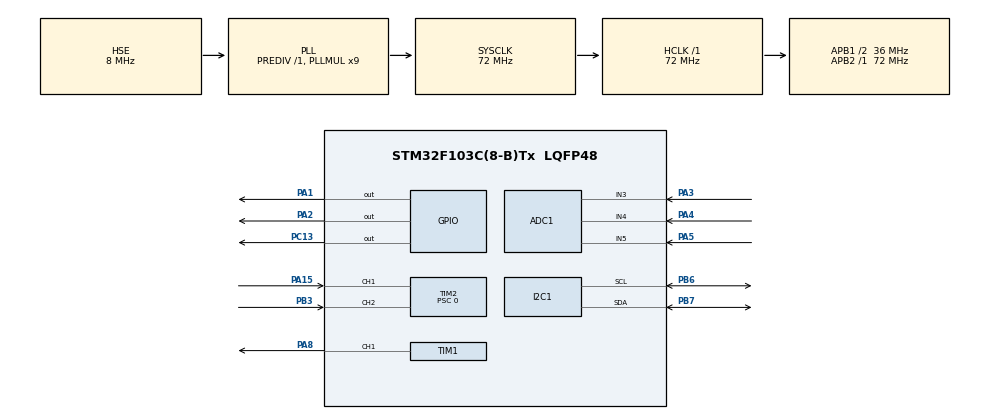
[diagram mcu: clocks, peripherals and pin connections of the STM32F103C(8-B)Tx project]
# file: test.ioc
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ADC1.Channel-0\#ChannelRegularConversion=ADC_CHANNEL_3
ADC1.Channel-1\#ChannelRegularConversion=ADC_CHANNEL_4
ADC1.Channel-2\#ChannelRegularConversion=ADC_CHANNEL_5
ADC1.ContinuousConvMode=DISABLE
ADC1.NbrOfConversion=3
ADC1.NbrOfConversionFlag=1
ADC1.Rank-0\#ChannelRegularConversion=1
ADC1.Rank-1\#ChannelRegularConversion=2
ADC1.Rank-2\#ChannelRegularConversion=3
ADC1.SamplingTime-0\#ChannelRegularConversion=ADC_SAMPLETIME_1CYCLE_5
ADC1.SamplingTime-1\#ChannelRegularConversion=ADC_SAMPLETIME_1CYCLE_5
ADC1.SamplingTime-2\#ChannelRegularConversion=ADC_SAMPLETIME_1CYCLE_5
ADC1.master=1
Dma.ADC1.0.Direction=DMA_PERIPH_TO_MEMORY
Dma.ADC1.0.Instance=DMA1_Channel1
Dma.ADC1.0.MemDataAlignment=DMA_MDATAALIGN_HALFWORD
Dma.ADC1.0.MemInc=DMA_MINC_ENABLE
Dma.ADC1.0.Mode=DMA_CIRCULAR
Dma.ADC1.0.PeriphDataAlignment=DMA_PDATAALIGN_HALFWORD
Dma.ADC1.0.PeriphInc=DMA_PINC_DISABLE
Dma.ADC1.0.Priority=DMA_PRIORITY_LOW
Dma.Request0=ADC1
Mcu.Family=STM32F1
Mcu.Name=STM32F103C(8-B)Tx
Mcu.Package=LQFP48
NVIC.DMA1_Channel1_IRQn=true\:0\:0\:false\:false\:true\:false\:true\:true
NVIC.PriorityGroup=NVIC_PRIORITYGROUP_4
NVIC.TIM2_IRQn=true\:0\:0\:false\:false\:true\:true\:true\:true
NVIC.TIM3_IRQn=true\:1\:0\:true\:false\:true\:true\:true\:true
PA1.Signal=GPIO_Output
PA13.Mode=Serial_Wire
PA13.Signal=SYS_JTMS-SWDIO
PA14.Mode=Serial_Wire
PA14.Signal=SYS_JTCK-SWCLK
PA15.GPIO_PuPd=GPIO_PULLUP
PA15.Signal=S_TIM2_CH1_ETR
PA2.PinState=GPIO_PIN_SET
PA2.Signal=GPIO_Output
PA3.Signal=ADCx_IN3
PA4.Signal=ADCx_IN4
PA5.Signal=ADCx_IN5
PA8.Signal=S_TIM1_CH1
PB3.GPIO_PuPd=GPIO_PULLUP
PB3.Signal=S_TIM2_CH2
PB6.GPIO_Speed=GPIO_SPEED_FREQ_HIGH
PB6.Mode=I2C
PB6.Signal=I2C1_SCL
PB7.Mode=I2C
PB7.Signal=I2C1_SDA
PC13-TAMPER-RTC.Signal=GPIO_Output
PD0-OSC_IN.Mode=HSE-External-Oscillator
PD0-OSC_IN.Signal=RCC_OSC_IN
PD1-OSC_OUT.Mode=HSE-External-Oscillator
PD1-OSC_OUT.Signal=RCC_OSC_OUT
ProjectManager.HeapSize=0x200
ProjectManager.StackSize=0x400
ProjectManager.TargetToolchain=Makefile
RCC.ADCPresc=RCC_ADCPCLK2_DIV6
RCC.AHBFreq_Value=72000000
RCC.APB1CLKDivider=RCC_HCLK_DIV2
RCC.APB1Freq_Value=36000000
RCC.APB1TimFreq_Value=72000000
RCC.APB2Freq_Value=72000000
RCC.APB2TimFreq_Value=72000000
RCC.HCLKFreq_Value=72000000
RCC.PLLMUL=RCC_PLL_MUL9
RCC.PLLSourceVirtual=RCC_PLLSOURCE_HSE
RCC.SYSCLKFreq_VALUE=72000000
RCC.SYSCLKSource=RCC_SYSCLKSOURCE_PLLCLK
RCC.USBFreq_Value=72000000
SH.ADCx_IN3.0=ADC1_IN3,IN3
SH.ADCx_IN4.0=ADC1_IN4,IN4
SH.ADCx_IN5.0=ADC1_IN5,IN5
SH.S_TIM1_CH1.0=TIM1_CH1,PWM Generation1 CH1
SH.S_TIM2_CH1_ETR.0=TIM2_CH1,Encoder_Interface
SH.S_TIM2_CH2.0=TIM2_CH2,Encoder_Interface
TIM1.Channel-PWM\ Generation1\ CH1=TIM_CHANNEL_1
TIM1.Period=3500
TIM1.Prescaler=71
TIM2.EncoderMode=TIM_ENCODERMODE_TI12
TIM2.Period=20000
TIM2.Prescaler=0
TIM3.Period=10000-1
TIM3.Prescaler=720-1
VP_TIM1_VS_ClockSourceINT.Mode=Internal
VP_TIM3_VS_ClockSourceINT.Mode=Internal
board=custom

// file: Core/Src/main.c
/* USER CODE BEGIN Header */
/**
  ******************************************************************************
  * @file           : main.c
  * @brief          : Main program body
  ******************************************************************************
  * @attention
  *
  * Copyright (c) 2024 STMicroelectronics.
  * All rights reserved.
  *
  * This software is licensed under terms that can be found in the LICENSE file
  * in the root directory of this software component.
  * If no LICENSE file comes with this software, it is provided AS-IS.
  *
  ******************************************************************************
  */
/* USER CODE END Header */
#include "main.h"
#include "adc.h"
#include "dma.h"
#include "i2c.h"
#include "tim.h"
#include "gpio.h"

/* USER CODE BEGIN Includes */
#include "encoder.h"
#include "OLED.h"
#include "PID.h"
#define GPIO_PIN_SET 1
#define GPIO_PIN_RESET 0
/* USER CODE END Includes */

/* USER CODE BEGIN PD */
 int a=1;
/* USER CODE END PD */

/* USER CODE BEGIN PV */
uint16_t adc_vaule[3];
extern float motor1_speed;
extern int motor1_dir;
uint8_t dir_flag;
uint8_t flag_1;
uint8_t flag_2;
float kp=3000,ki=0.025,kd=0.1;
float vkp=0,vki=0;
extern int PWM;
float b;
/* USER CODE END PV */

void SystemClock_Config(void);

int main(void)
{

  /* MCU Configuration--------------------------------------------------------*/

  /* Reset of all peripherals, Initializes the Flash interface and the Systick. */
  HAL_Init();

  /* Configure the system clock */
  SystemClock_Config();

  /* Initialize all configured peripherals */
  MX_GPIO_Init();
  MX_DMA_Init();
  MX_TIM1_Init();
  MX_TIM2_Init();
  MX_TIM3_Init();
  MX_ADC1_Init();
  MX_I2C1_Init();
  /* USER CODE BEGIN 2 */
  Motor_Init();
 b=1.6;
  OLED_Init();
  HAL_Delay(50);
  OLED_ShowString(1,1,"speed:");
  OLED_ShowString(2,1,"direction:");
  /* USER CODE END 2 */

  /* Infinite loop */
  /* USER CODE BEGIN WHILE */
  while (1)
  {

    SETPWM(PWM);

  //   HAL_ADCEx_Calibration_Start(&hadc1 );
  //   HAL_ADC_Start_DMA(&hadc1,adc_vaule,3);

  // if(a==1)
  // {
  //       flag_1=HAL_GPIO_ReadPin(GPIOA,GPIO_PIN_1);
  //       flag_2=HAL_GPIO_ReadPin(GPIOA,GPIO_PIN_2);

  //   if(adc_vaule[0]>0 && adc_vaule[0]<10 && motor1_dir==1 && flag_1==1 && flag_2==0)
  //   {
  //     HAL_GPIO_TogglePin(GPIOA,GPIO_PIN_1);
  //     HAL_GPIO_TogglePin(GPIOA,GPIO_PIN_2);
  //     OLED_ShowFloatNum(1,7,motor1_speed,1,2);
  //         OLED_ShowNum(2,12,motor1_dir,1);
  //   }
  //   else if(adc_vaule[0]>0 && adc_vaule[0]<10 && motor1_dir==0 && flag_1==0 && flag_2==1)
  //   {
  //     HAL_GPIO_TogglePin(GPIOA,GPIO_PIN_1);
  //     HAL_GPIO_TogglePin(GPIOA,GPIO_PIN_2);
  //     // OLED_ShowFloatNum(1,7,motor1_speed,1,2);
  //     //     OLED_ShowNum(2,12,motor1_dir,1);
  //   }

  //         __HAL_TIM_SET_COMPARE(&htim1,TIM_CHANNEL_1,adc_vaule[2]);

  //     // OLED_ShowFloatNum(1,7,motor1_speed,1,2);
  //     //     OLED_ShowNum(2,12,motor1_dir,1);

  // }

    // if(a==1)
    // { OLED_ShowFloatNum(1,7,motor1_speed,1,2);
    //   if(adc_vaule[2]>0 && adc_vaule[2]<5)
    //    {
    //      __HAL_TIM_SET_COMPARE(&htim1,TIM_CHANNEL_1,3500);//全速
    //      OLED_ShowFloatNum(1,7,motor1_speed,1,2);
    //      OLED_ShowNum(2,12,motor1_dir,1);
    //    }
    //   else {
    //       __HAL_TIM_SET_COMPARE(&htim1,TIM_CHANNEL_1,adc_vaule[0]);
    //       OLED_ShowFloatNum(1,7,motor1_speed,1,2);
    //       OLED_ShowNum(2,12,motor1_dir,1);
    //   }
    // }
    /* USER CODE END WHILE */

  }
}

void SystemClock_Config(void)
{
  RCC_OscInitTypeDef RCC_OscInitStruct = {0};
  RCC_ClkInitTypeDef RCC_ClkInitStruct = {0};
  RCC_PeriphCLKInitTypeDef PeriphClkInit = {0};

  /** Initializes the RCC Oscillators according to the specified parameters
  * in the RCC_OscInitTypeDef structure.
  */
  RCC_OscInitStruct.OscillatorType = RCC_OSCILLATORTYPE_HSE;
  RCC_OscInitStruct.HSEState = RCC_HSE_ON;
  RCC_OscInitStruct.HSEPredivValue = RCC_HSE_PREDIV_DIV1;
  RCC_OscInitStruct.HSIState = RCC_HSI_ON;
  RCC_OscInitStruct.PLL.PLLState = RCC_PLL_ON;
  RCC_OscInitStruct.PLL.PLLSource = RCC_PLLSOURCE_HSE;
  RCC_OscInitStruct.PLL.PLLMUL = RCC_PLL_MUL9;
  if (HAL_RCC_OscConfig(&RCC_OscInitStruct) != HAL_OK)
  {
    Error_Handler();
  }

  /** Initializes the CPU, AHB and APB buses clocks
  */
  RCC_ClkInitStruct.ClockType = RCC_CLOCKTYPE_HCLK|RCC_CLOCKTYPE_SYSCLK
                              |RCC_CLOCKTYPE_PCLK1|RCC_CLOCKTYPE_PCLK2;
  RCC_ClkInitStruct.SYSCLKSource = RCC_SYSCLKSOURCE_PLLCLK;
  RCC_ClkInitStruct.AHBCLKDivider = RCC_SYSCLK_DIV1;
  RCC_ClkInitStruct.APB1CLKDivider = RCC_HCLK_DIV2;
  RCC_ClkInitStruct.APB2CLKDivider = RCC_HCLK_DIV1;

  if (HAL_RCC_ClockConfig(&RCC_ClkInitStruct, FLASH_LATENCY_2) != HAL_OK)
  {
    Error_Handler();
  }
  PeriphClkInit.PeriphClockSelection = RCC_PERIPHCLK_ADC;
  PeriphClkInit.AdcClockSelection = RCC_ADCPCLK2_DIV6;
  if (HAL_RCCEx_PeriphCLKConfig(&PeriphClkInit) != HAL_OK)
  {
    Error_Handler();
  }
}

void Error_Handler(void)
{
  __disable_irq();
  while (1)
  {
  }
}
